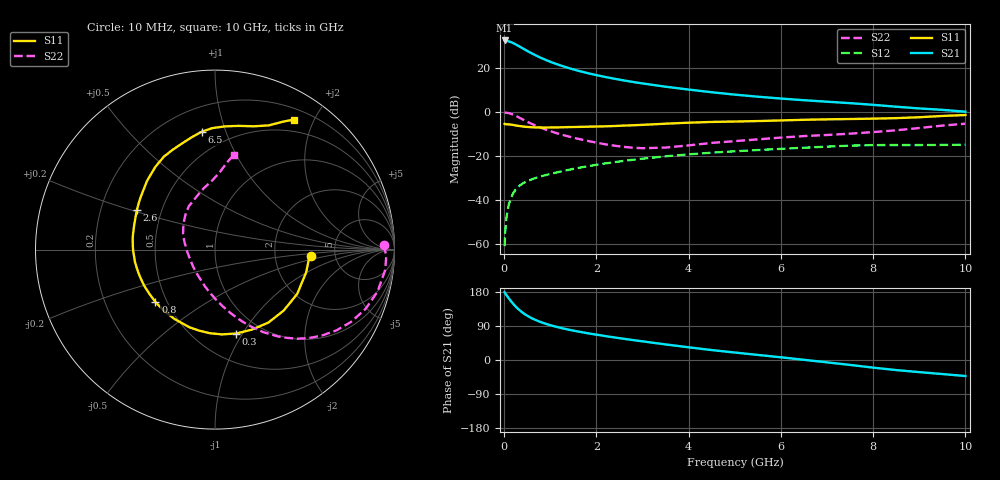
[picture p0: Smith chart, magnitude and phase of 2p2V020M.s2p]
! (c) 2009  Infineon Technologies AG, Munich
! Infineon Technologies  Discrete & RF Semiconductors
! BFP420
! VCE =  2.0 V,  IC =  20 mA
! Common Emitter S-Parameters:  Nov 2009
# GHz  S  MA  R  50
!  f  S11  S21  S12  S22
! GHz  MAG  ANG  MAG  ANG  MAG  ANG  MAG  ANG
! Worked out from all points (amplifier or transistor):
!   46 points, 10 MHz to 10 GHz, reference 50 ohm
!   highest |S21| = 32.4 dB at 10 MHz (marker M1)
!   |S21| within 3 dB of that: start of sweep to 354 MHz
!   unconditionally stable (mu >= 1): 1.794 GHz to end of sweep
!   at 300 MHz: K = 0.31, MSG = 32.1 dB, |S12| = -34.1 dB
!   at 1.7 GHz: K = 0.98, MSG = 21.6 dB, |S12| = -25.1 dB
!   at 10 GHz: K = 1.07, MAG = 5.9 dB, |S12| = -14.9 dB
!   lowest NFmin = 1.23 dB at 900 MHz
!   S11 on the Smith chart (normalised r, x): 10 MHz: 3.27, -0.31; 300 MHz: 0.77, -0.94; 800 MHz: 0.43, -0.31; 2.6 GHz: 0.36, +0.21; 6.5 GHz: 0.36, +0.83; 10 GHz: 0.34, +1.73
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0.01  0.5353 -3.6  41.59 179.1  0.0009 97.7  0.9429 1.6
0.02  0.5256 -6.0  40.76 176.5  0.0017 90.2  0.955 -2.4
0.05  0.5235 -14.0  40.48 171.3  0.004 85.7  0.9546 -7.0
0.1  0.5204 -28.4  39.63 162.9  0.0079 79.1  0.9353 -14.5
0.15  0.5116 -41.5  37.98 154.9  0.0113 74.9  0.9015 -21.5
0.2  0.504 -53.8  36.02 147.7  0.0145 70.8  0.8591 -27.9
0.25  0.491 -65.3  33.77 141.0  0.0173 66.9  0.8129 -33.6
0.3  0.4822 -75.8  31.69 135.0  0.0197 64.0  0.7652 -38.7
0.4  0.4668 -93.6  27.63 125.0  0.0237 59.3  0.6754 -47.3
0.5  0.4554 -108.3  24.09 116.9  0.0269 56.5  0.5971 -54.1
0.6  0.4475 -120.4  21.16 110.1  0.0296 54.6  0.5325 -59.7
0.8  0.4418 -138.8  16.72 99.8  0.0345 52.8  0.4345 -68.6
1  0.4427 -152.4  13.68 91.9  0.0391 52.1  0.3654 -76.1
1.2  0.4457 -162.8  11.47 85.5  0.0437 51.7  0.3145 -82.9
1.7  0.458 177.8  8.073 73.0  0.0557 50.2  0.2323 -99.3
2.6  0.4879 153.3  5.148 55.8  0.0774 44.8  0.1603 -134.1
3.5  0.5384 134.7  3.719 41.1  0.098 37.5  0.1549 -174.9
5.5  0.6185 107.5  2.206 13.4  0.1362 19.7  0.2377 136.2
6.5  0.6608 96.5  1.837 0.5  0.1537 10.8  0.2825 121.0
7  0.6769 91.3  1.698 -6.2  0.1628 6.0  0.2987 113.6
8.5  0.7203 72.5  1.308 -26.6  0.1765 -10.9  0.3818 92.9
10  0.8469 58.8  1.007 -42.3  0.1796 -22.0  0.5379 78.8
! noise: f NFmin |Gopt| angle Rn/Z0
0.9  1.23  0.16  -154  0.13
1.8  1.51  0.24  -144  0.13
2.4  1.66  0.22  -141  0.15
3  1.69  0.3  -132  0.16
4  1.82  0.42  -115  0.23
5  2.28  0.48  -96  0.37
6  2.65  0.52  -86  0.56
